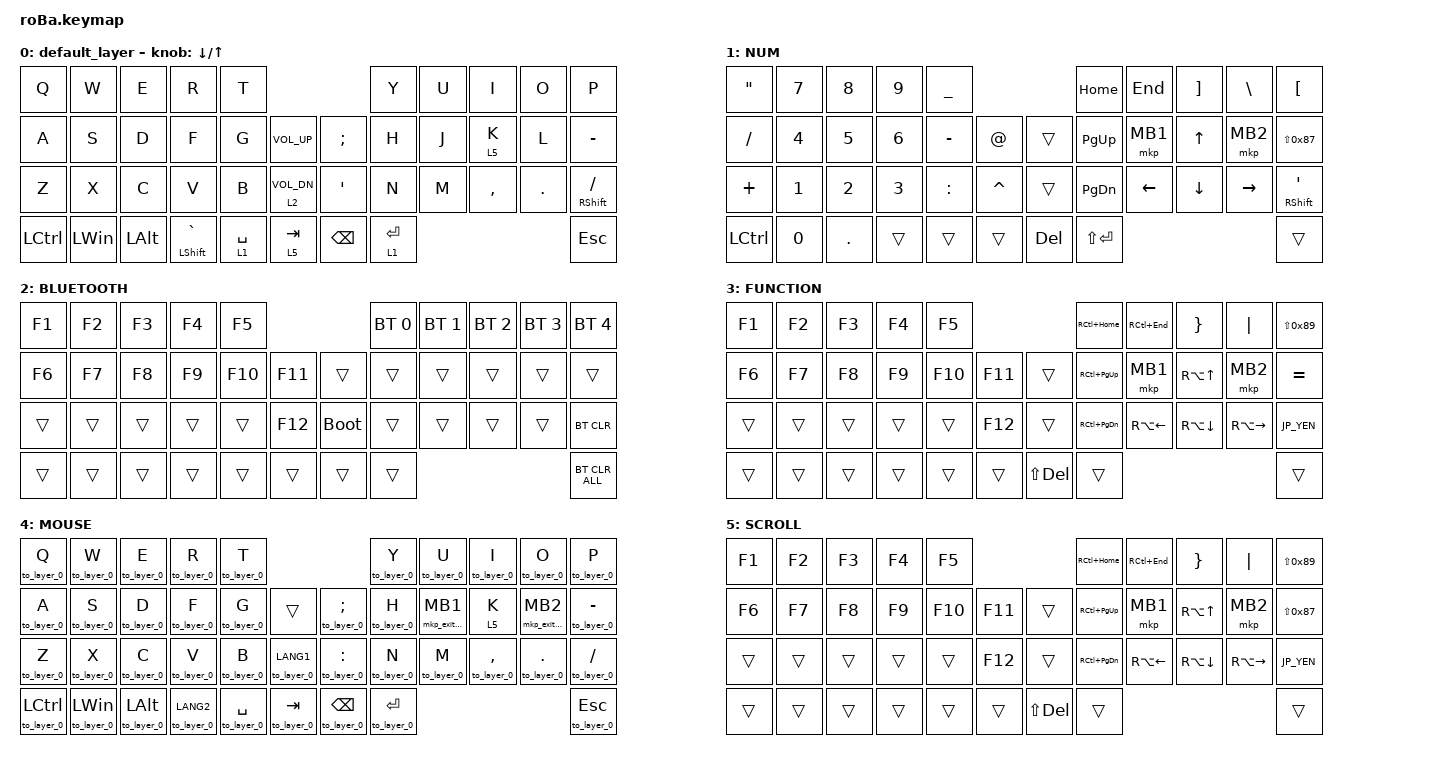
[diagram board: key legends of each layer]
#include <behaviors.dtsi>
#include <dt-bindings/zmk/bt.h>
#include <dt-bindings/zmk/keys.h>
#include <dt-bindings/zmk/pointing.h>

// OS設定を日本語キーボードのまま使用するための変換定義

#define JP_DQUOTE       AT                // "
#define JP_AMPERSAND    CARET             // &
#define JP_QUOTE        AMPERSAND         // '
#define JP_EQUAL        UNDER             // =
#define JP_CARET        EQUAL             // ^
#define JP_YEN          0x89              // ¥
#define JP_PLUS         COLON             // +
#define JP_TILDE        PLUS              // ~
#define JP_PIPE         LS(0x89)          // |
#define JP_AT           LEFT_BRACKET      // @
#define JP_COLON        SINGLE_QUOTE      // :
#define JP_ASTERISK     DOUBLE_QUOTES     // *
#define JP_BACKQUOTE    LEFT_BRACE        // `
#define JP_UNDERSCORE   LS(0x87)          // _
#define JP_LBRACKET     RIGHT_BRACKET     // [
#define JP_RBRACKET     BACKSLASH         // ]
#define JP_LPAREN       ASTERISK          // (
#define JP_RPAREN       LEFT_PARENTHESIS  // )
#define JP_LBRACE       RIGHT_BRACE       // {
#define JP_RBRACE       PIPE              // }
#define JP_KANA         LANGUAGE_1        // かな
#define JP_EISU         LANGUAGE_2        // 英数
#define JP_HANZEN       GRAVE             // 半角/全角

&mt {
    flavor = "balanced";
    quick-tap-ms = <0>;
};

&trackball {
    // automouse-layer = <4>;
    scroll-layers = <5>;

    // arrows {
    //     layers = <3>;
    //     bindings =
    //         <&kp RIGHT_ARROW>,
    //         <&kp LEFT_ARROW>,
    //         <&kp UP_ARROW>,
    //         <&kp DOWN_ARROW>;
    //     tick = <10>;
    //     wait-ms = <5>;
    //     tap-ms = <5>;
    // };
};

/ {
    combos {
        compatible = "zmk,combos";

        mb1 {
            bindings = <&mkp MB1>;
            key-positions = <18 19>;
        };

        mb2 {
            bindings = <&mkp MB2>;
            key-positions = <19 20>;
        };

        mb4 {
            bindings = <&mkp MB4>;
            key-positions = <30 31>;
        };

        mb5 {
            bindings = <&mkp MB5>;
            key-positions = <31 32>;
        };
    };

    macros {
        to_layer_0: to_layer_0 {
            compatible = "zmk,behavior-macro-one-param";
            #binding-cells = <1>;
            bindings = <&to 0 &macro_param_1to1 &kp MACRO_PLACEHOLDER>;
            label = "TO_LAYER_0";
        };

        mkp_exit_AML: mkp_exit_AML {
            compatible = "zmk,behavior-macro-one-param";
            #binding-cells = <1>;
            bindings =
                <&macro_press>,
                <&macro_param_1to1 &mkp MACRO_PLACEHOLDER>,
                <&macro_pause_for_release>,
                <&macro_release>,
                <&macro_param_1to1 &mkp MACRO_PLACEHOLDER>,
                <&macro_tap>,
                <&sl 4>;

            label = "MKP_EXIT_AML";
        };
    };

    behaviors {
        lt_to_layer_0: lt_to_layer_0 {
            compatible = "zmk,behavior-hold-tap";
            label = "LAYER_TAP_TO_0";
            bindings = <&mo>, <&to_layer_0>;

            #binding-cells = <2>;
            tapping-term-ms = <200>;
        };
    };

    keymap {
        compatible = "zmk,keymap";

        default_layer {
            bindings = <
&kp Q             &kp W         &kp E         &kp R                 &kp T                                                 &kp Y        &kp U  &kp I      &kp O    &kp P
&kp A    &kp S         &kp D         &kp F                 &kp G        &kp C_VOL_UP             &kp SEMICOLON  &kp H        &kp J  &lt 5 K    &kp L    &kp MINUS
&kp Z  &kp X         &kp C         &kp V                 &kp B        &lt 2 C_VOL_DN               &kp JP_COLON   &kp N        &kp M  &kp COMMA  &kp DOT  &mt RIGHT_SHIFT SLASH
&kp LCTRL         &kp LEFT_WIN  &kp LEFT_ALT  &mt LEFT_SHIFT JP_HANZEN  &lt 1 SPACE  &lt 5 TAB      &kp BACKSPACE  &lt 1 ENTER                             &kp ESC
            >;

            sensor-bindings = <&inc_dec_kp DOWN_ARROW UP_ARROW>;
        };

        NUM {
            bindings = <
&kp JP_ASTERISK  &kp N7        &kp N8        &kp N9        &kp JP_EQUAL                          &kp HOME       &kp END         &kp JP_LBRACKET  &kp JP_RBRACKET  &kp JP_AT
&kp SLASH     &kp NUMBER_4  &kp N5        &kp NUMBER_6  &kp MINUS  &kp JP_DQUOTE      &trans      &kp PAGE_UP    &mkp MB1        &kp UP_ARROW     &mkp MB2         &kp JP_UNDERSCORE
&kp JP_TILDE  &kp NUMBER_1  &kp NUMBER_2  &kp NUMBER_3  &kp JP_PLUS   &kp JP_AMPERSAND      &trans      &kp PAGE_DOWN  &kp LEFT_ARROW  &kp DOWN_ARROW   &kp RIGHT_ARROW  &mt RIGHT_SHIFT JP_COLON
&kp LCTRL     &kp N0        &kp DOT       &trans        &trans     &trans      &kp DELETE  &kp LS(ENTER)                                                    &trans
            >;
        };

        BLUETOOTH {
            bindings = <
&kp F1  &kp F2  &kp F3  &kp F4  &kp F5                             &bt BT_SEL 0  &bt BT_SEL 1  &bt BT_SEL 2  &bt BT_SEL 3  &bt BT_SEL 4
&kp F6  &kp F7  &kp F8  &kp F9  &kp F10  &kp F11      &trans       &trans        &trans        &trans        &trans        &trans
&trans  &trans  &trans  &trans  &trans   &kp F12      &bootloader  &trans        &trans        &trans        &trans        &bt BT_CLR
&trans  &trans  &trans  &trans  &trans   &trans       &trans       &trans                                                  &bt BT_CLR_ALL
            >;
        };

        FUNCTION {
            bindings = <
&kp F1  &kp F2  &kp F3  &kp F4  &kp F5                                &kp RC(HOME)       &kp RC(END)         &kp JP_LBRACE       &kp JP_RBRACE        &kp JP_PIPE
&kp F6  &kp F7  &kp F8  &kp F9  &kp F10  &kp F11      &trans          &kp RC(PAGE_UP)    &mkp MB1            &kp RA(UP_ARROW)    &mkp MB2             &kp JP_CARET
&trans  &trans  &trans  &trans  &trans   &kp F12      &trans          &kp RC(PAGE_DOWN)  &kp RA(LEFT_ARROW)  &kp RA(DOWN_ARROW)  &kp RA(RIGHT_ARROW)  &kp JP_YEN
&trans  &trans  &trans  &trans  &trans   &trans       &kp LS(DELETE)  &trans                                                                          &trans
            >;
        };

        MOUSE {
            bindings = <
&to_layer_0 Q      &to_layer_0 W         &to_layer_0 E         &to_layer_0 R      &to_layer_0 T                                                    &to_layer_0 Y      &to_layer_0 U      &to_layer_0 I      &to_layer_0 O       &to_layer_0 P
&to_layer_0 A      &to_layer_0 S         &to_layer_0 D         &to_layer_0 F      &to_layer_0 G      &trans                 &to_layer_0 SEMICOLON  &to_layer_0 H      &mkp_exit_AML MB1  &lt 5 K            &mkp_exit_AML MB2   &to_layer_0 MINUS
&to_layer_0 Z      &to_layer_0 X         &to_layer_0 C         &to_layer_0 V      &to_layer_0 B      &to_layer_0 LANG1      &to_layer_0 COLON      &to_layer_0 N      &to_layer_0 M      &to_layer_0 COMMA  &to_layer_0 PERIOD  &to_layer_0 SLASH
&to_layer_0 LCTRL  &to_layer_0 LEFT_WIN  &to_layer_0 LEFT_ALT  &to_layer_0 LANG2  &to_layer_0 SPACE  &to_layer_0 TAB        &to_layer_0 BACKSPACE  &to_layer_0 ENTER                                                            &to_layer_0 ESC
            >;
        };

        SCROLL {
            bindings = <
&kp F1  &kp F2  &kp F3  &kp F4  &kp F5                                &kp RC(HOME)       &kp RC(END)         &kp JP_LBRACE       &kp JP_RBRACE        &kp JP_PIPE
&kp F6  &kp F7  &kp F8  &kp F9  &kp F10  &kp F11      &trans          &kp RC(PAGE_UP)    &mkp MB1            &kp RA(UP_ARROW)    &mkp MB2             &kp JP_UNDERSCORE
&trans  &trans  &trans  &trans  &trans   &kp F12      &trans          &kp RC(PAGE_DOWN)  &kp RA(LEFT_ARROW)  &kp RA(DOWN_ARROW)  &kp RA(RIGHT_ARROW)  &kp JP_YEN
&trans  &trans  &trans  &trans  &trans   &trans       &kp LS(DELETE)  &trans                                                                          &trans
            >;
        };
    };
};
